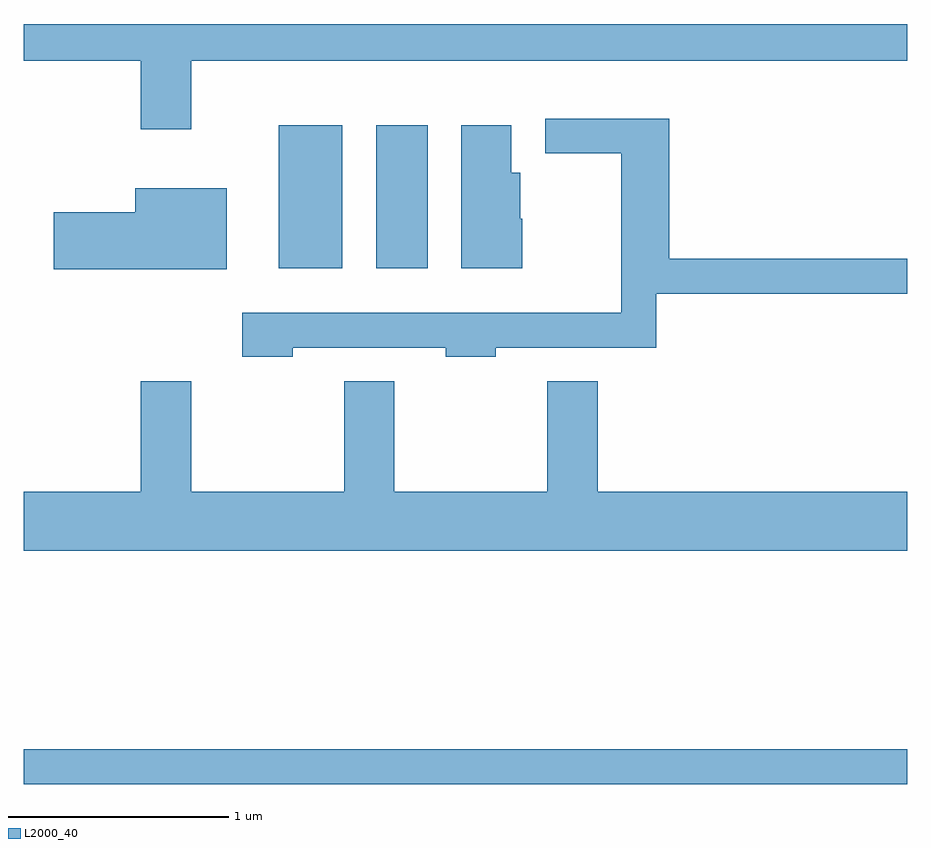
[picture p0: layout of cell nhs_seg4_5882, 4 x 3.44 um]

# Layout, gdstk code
import gdstk
lib = gdstk.Library(unit=1e-6, precision=1e-09)
def R(c, l, rs):  # rectangles x0, y0, x1, y1
    for r in rs: c.add(gdstk.rectangle(r[:2], r[2:], *l))
def P(c, l, *ps):  # polygons
    for p in ps: c.add(gdstk.Polygon(p, *l))
L2000_40 = (2000, 40)

nhs_seg4_5882 = lib.new_cell('nhs_seg4_5882')
R(nhs_seg4_5882, L2000_40, [(357.611,1322.541,361.611,1322.699), (358.766,1324.876,359.054,1325.524), (359.206,1324.876,359.439,1325.524)])
P(nhs_seg4_5882, L2000_40, [(358.369,1325.816),(361.611,1325.816),(361.611,1325.982),(357.611,1325.982),(357.611,1325.816),(358.141,1325.816),(358.141,1325.506),(358.369,1325.506)],
  [(358.829,1324.516),(359.521,1324.516),(359.521,1324.476),(359.749,1324.476),(359.749,1324.516),(360.474,1324.516),(360.474,1324.761),(361.611,1324.761),(361.611,1324.919),(360.534,1324.919),(360.534,1325.554),(359.973,1325.554),(359.973,1325.396),(360.316,1325.396),(360.316,1324.674),(358.601,1324.674),(358.601,1324.476),(358.829,1324.476)],
  [(359.869,1325.1),(359.859,1325.1),(359.859,1325.309),(359.819,1325.309),(359.819,1325.524),(359.591,1325.524),(359.591,1324.876),(359.869,1324.876)],
  [(358.529,1325.239),(358.116,1325.239),(358.116,1325.129),(357.746,1325.129),(357.746,1324.871),(358.529,1324.871)],
  [(361.611,1323.864),(360.209,1323.864),(360.209,1324.364),(359.981,1324.364),(359.981,1323.864),(359.289,1323.864),(359.289,1324.364),(359.061,1324.364),(359.061,1323.864),(358.369,1323.864),(358.369,1324.364),(358.141,1324.364),(358.141,1323.864),(357.611,1323.864),(357.611,1323.596),(361.611,1323.596)])

lib.write_gds('nhs_seg4_5882.gds')
